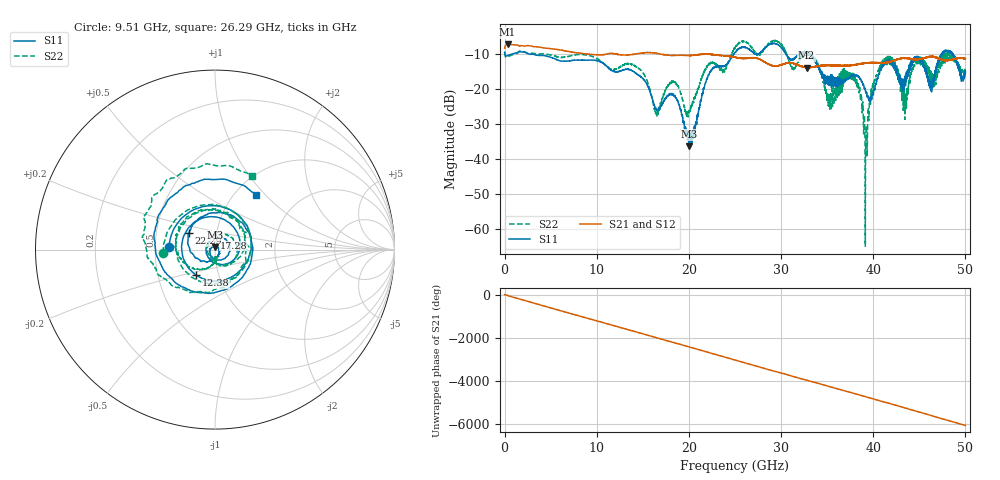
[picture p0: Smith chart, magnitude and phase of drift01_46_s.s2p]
!Created with skrf (http://scikit-rf.org).
# Hz S RI R 50.0
!freq ReS11 ImS11 ReS21 ImS21 ReS12 ImS12 ReS22 ImS22
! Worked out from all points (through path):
!   10001 points, 300 kHz to 50 GHz, reference 50 ohm
!   highest |S21| = -7.33 dB at 325.3 MHz (marker M1); lowest = -14.0 dB at 32.77 GHz (marker M2)
!   group delay of S21, straight-line fit = 335 ps
!   lowest |S11| = -36.4 dB at 20.01 GHz (marker M3), VSWR 1.03, Z = 49.9 + j1.51 ohm
!   |S11| at or under -10 dB: 2.554 GHz to 24.91 GHz (22.36 GHz wide, 163 % of centre); 30.5 GHz to 32.01 GHz (1.512 GHz wide, 4.84 % of centre); 33.07 GHz to 47.41 GHz (14.35 GHz wide, 35.7 % of centre) (the widest 3 of 22)
!   |S22| runs from -64.8 to -6.2 dB; largest |S21 - S12| = 0.009
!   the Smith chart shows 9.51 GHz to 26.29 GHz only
!   S11 on the Smith chart (normalised r, x): 9.51 GHz: 0.59, +0.02; 12.38 GHz: 0.78, -0.23; 17.28 GHz: 0.99, +0.13; 22.29 GHz: 0.73, +0.14; 26.29 GHz: 1.24, +0.89
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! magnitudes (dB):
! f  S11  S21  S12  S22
! 300 kHz  -9.6  -8.4  -8.5  -9.5
! 325.3 MHz  -10.5  -7.3  -7.3  -10.9
! 8.335 GHz  -11.8  -9.9  -9.9  -10.2
! 9.51 GHz  -11.8  -10.2  -10.2  -10.8
! 12.38 GHz  -15.0  -10.2  -10.2  -13.9
! 16.67 GHz  -26.0  -10.0  -10.0  -27.2
! 17.28 GHz  -23.4  -10.3  -10.2  -21.5
! 20.01 GHz  -36.4  -10.5  -10.5  -26.6
! 22.29 GHz  -15.2  -10.2  -10.2  -12.8
! 25 GHz  -9.6  -11.0  -11.0  -8.4
! 26.29 GHz  -8.3  -11.3  -11.3  -6.8
! 32.77 GHz  -9.7  -14.0  -13.8  -10.1
! 33.34 GHz  -10.8  -13.8  -13.8  -10.6
! 35.23 GHz  -16.8  -13.3  -13.3  -21.9
! 37.99 GHz  -15.9  -13.1  -13.2  -16.9
! 39.17 GHz  -20.7  -12.7  -12.7  -41.0
! 40.16 GHz  -20.1  -12.5  -12.5  -17.4
! 41.67 GHz  -12.2  -12.3  -12.4  -11.6
! 43.46 GHz  -17.5  -11.3  -11.4  -24.7
! 44.83 GHz  -11.4  -11.6  -11.5  -12.6
! 46.25 GHz  -19.1  -10.8  -10.8  -17.1
! 50 GHz  -15.4  -11.4  -11.4  -15.1
